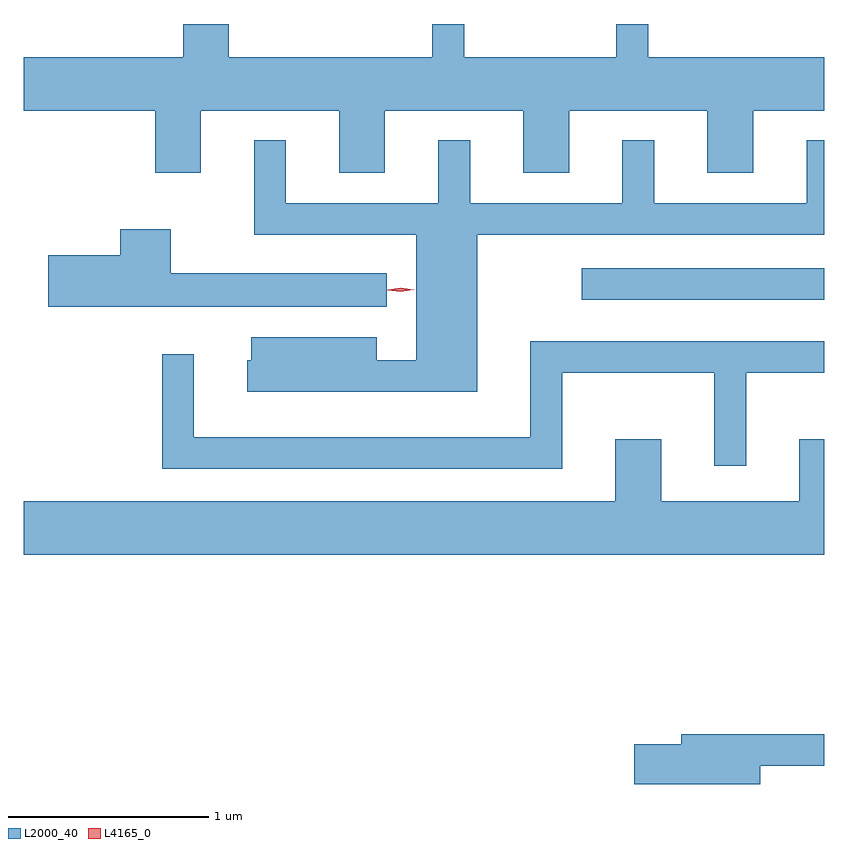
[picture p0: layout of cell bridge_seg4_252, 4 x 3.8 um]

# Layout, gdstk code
import gdstk
lib = gdstk.Library(unit=1e-6, precision=1e-09)
def R(c, l, rs):  # rectangles x0, y0, x1, y1
    for r in rs: c.add(gdstk.rectangle(r[:2], r[2:], *l))
def P(c, l, *ps):  # polygons
    for p in ps: c.add(gdstk.Polygon(p, *l))
L2000_40 = (2000, 40)
L4165_0 = (4165, 0)

bridge_seg4_252 = lib.new_cell('bridge_seg4_252')
R(bridge_seg4_252, L2000_40, [(693.043,1338.191,694.254,1338.349)])
P(bridge_seg4_252, L2000_40, [(691.139,1339.136),(691.831,1339.136),(691.831,1338.826),(692.059,1338.826),(692.059,1339.136),(692.751,1339.136),(692.751,1338.826),(692.979,1338.826),(692.979,1339.136),(693.671,1339.136),(693.671,1338.826),(693.899,1338.826),(693.899,1339.136),(694.254,1339.136),(694.254,1339.404),(693.374,1339.404),(693.374,1339.57),(693.216,1339.57),(693.216,1339.404),(692.454,1339.404),(692.454,1339.57),(692.296,1339.57),(692.296,1339.404),(691.279,1339.404),(691.279,1339.57),(691.051,1339.57),(691.051,1339.404),(690.254,1339.404),(690.254,1339.136),(690.911,1339.136),(690.911,1338.826),(691.139,1338.826)],
  [(692.519,1338.516),(694.254,1338.516),(694.254,1338.988),(694.166,1338.988),(694.166,1338.674),(693.404,1338.674),(693.404,1338.988),(693.246,1338.988),(693.246,1338.674),(692.484,1338.674),(692.484,1338.988),(692.326,1338.988),(692.326,1338.674),(691.564,1338.674),(691.564,1338.988),(691.406,1338.988),(691.406,1338.516),(692.216,1338.516),(692.216,1337.889),(692.019,1337.889),(692.019,1338.004),(691.391,1338.004),(691.391,1337.889),(691.371,1337.889),(691.371,1337.731),(692.519,1337.731)],
  [(692.068,1338.324),(690.989,1338.324),(690.989,1338.544),(690.736,1338.544),(690.736,1338.414),(690.376,1338.414),(690.376,1338.156),(692.068,1338.156)],
  [(692.944,1337.826),(693.706,1337.826),(693.706,1337.363),(693.864,1337.363),(693.864,1337.826),(694.254,1337.826),(694.254,1337.984),(692.786,1337.984),(692.786,1337.504),(691.104,1337.504),(691.104,1337.918),(690.946,1337.918),(690.946,1337.346),(692.944,1337.346)],
  [(694.254,1337.494),(694.131,1337.494),(694.131,1337.184),(693.439,1337.184),(693.439,1337.494),(693.211,1337.494),(693.211,1337.184),(690.254,1337.184),(690.254,1336.916),(694.254,1336.916)],
  [(693.934,1335.861),(694.254,1335.861),(694.254,1336.019),(693.541,1336.019),(693.541,1335.969),(693.306,1335.969),(693.306,1335.771),(693.934,1335.771)])
P(bridge_seg4_252, L4165_0, [(692.139,1338.231),(692.073,1338.24),(692.073,1338.24),(692.073,1338.241),(692.139,1338.251),(692.204,1338.242),(692.205,1338.242),(692.204,1338.241)])

lib.write_gds('bridge_seg4_252.gds')
